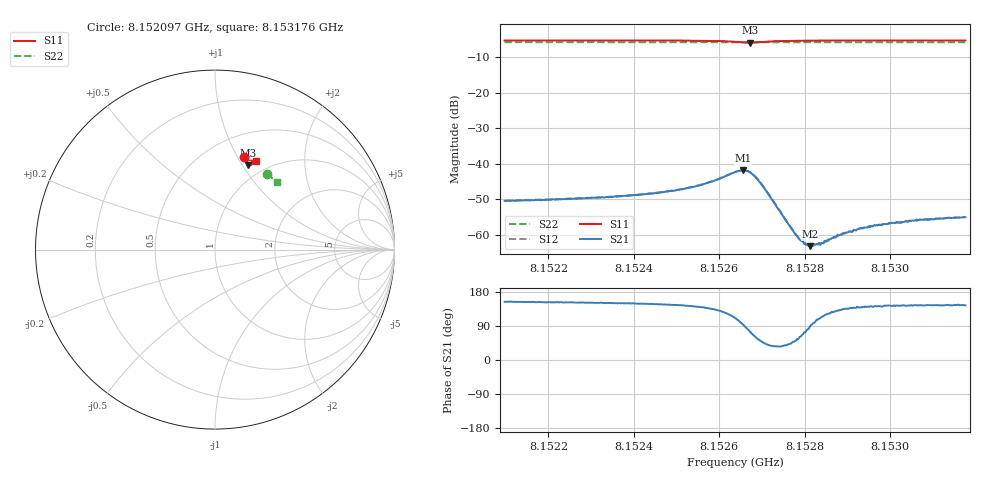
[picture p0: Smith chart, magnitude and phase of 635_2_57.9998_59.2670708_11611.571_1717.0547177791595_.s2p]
#  HZ  S  RI  R  50.00
! Rohde & Schwarz Vector Network Analyzer
! Rohde-Schwarz,ZNB20-2Port,1311601062101988,3.16
! Created: UTC 3/21/2024, 1:18:48 AM
! freq[Hz]  re:S11  im:S11  re:S21  im:S21  re:S12  im:S12  re:S22  im:S22
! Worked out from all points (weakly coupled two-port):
!   401 points, 8.152097 GHz to 8.153176 GHz, reference 50 ohm
!   highest |S21| = -41.87 dB at 8.152656 GHz (marker M1); lowest = -63.2 dB at 8.152812 GHz (marker M2)
!   lowest |S11| = -5.9 dB at 8.152672 GHz (marker M3), VSWR 3.04, Z = 42.1 + j53.1 ohm
!   |S11| at or under -10 dB: nowhere
!   |S22| runs from -5.9 to -5.8 dB; largest |S21 - S12| = 0.00014
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8.1520974e9  0.1638 0.515  -0.00268 0.00133  -0.00271 0.00135  0.2915 0.4208
8.1522781e9  0.1771 0.5108  -0.00286 0.00153  -0.00286 0.0016  0.3009 0.414
8.1524588e9  0.1917 0.5048  -0.00328 0.00211  -0.0033 0.00222  0.3101 0.4068
8.1525047e9  0.1961 0.5023  -0.00349 0.00248  -0.00347 0.00255  0.3123 0.4048
8.1525559e9  0.2018 0.4977  -0.0038 0.00326  -0.0038 0.00333  0.315 0.4025
8.1525937e9  0.2061 0.4916  -0.00399 0.0044  -0.00397 0.00448  0.3168 0.4009
8.1526369e9  0.2055 0.4763  -0.00274 0.00709  -0.00267 0.00715  0.3185 0.3988
8.1526558e9  0.1968 0.4692  -0.000463 0.00805  -0.000418 0.00811  0.3191 0.3978
8.1526719e9  0.1852 0.4699  0.002 0.00726  0.0021 0.00734  0.3194 0.3973
8.1526854e9  0.1784 0.4768  0.00322 0.00558  0.0033 0.00561  0.3198 0.3972
8.1526989e9  0.1767 0.4846  0.00334 0.00385  0.00348 0.00382  0.3205 0.397
8.1527637e9  0.1897 0.4997  0.00102 0.000915  0.00104 0.000922  0.3242 0.3949
8.1527852e9  0.1933 0.5005  0.00051 0.000748  0.000501 0.000755  0.3254 0.3939
8.1528014e9  0.1959 0.5005  0.000217 0.000702  0.000212 0.000737  0.3263 0.3932
8.1528122e9  0.1974 0.5005  2.49e-05 0.000692  2.87e-05 0.000693  0.3268 0.3928
8.1528176e9  0.1981 0.5006  -5.23e-05 0.000722  -2.9e-06 0.000749  0.327 0.3926
8.1528392e9  0.2007 0.5003  -0.000302 0.000711  -0.000281 0.000708  0.3281 0.3916
8.1528796e9  0.205 0.4995  -0.000629 0.000738  -0.000628 0.000748  0.3302 0.39
8.1529201e9  0.2087 0.4986  -0.000848 0.000777  -0.000883 0.000813  0.3321 0.3883
8.1529983e9  0.2151 0.4965  -0.00117 0.000862  -0.00117 0.000893  0.3359 0.3847
8.1530685e9  0.2205 0.4944  -0.0013 0.000948  -0.00132 0.000973  0.3392 0.3819
8.1531764e9  0.2282 0.4914  -0.00143 0.00104  -0.00145 0.00103  0.3442 0.3771
